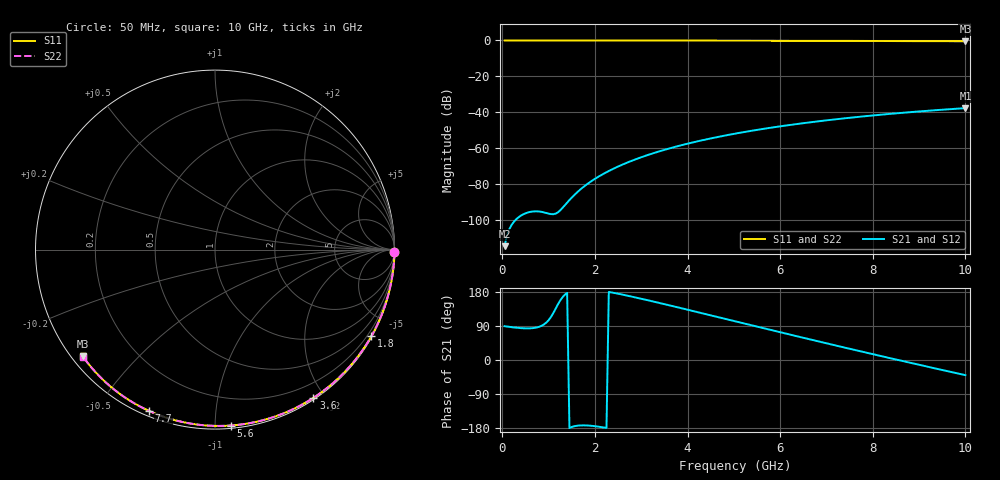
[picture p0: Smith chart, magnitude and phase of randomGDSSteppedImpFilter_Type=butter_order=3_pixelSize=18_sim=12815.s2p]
! freq	dB(S11)	phase(S11)	dB(S12)	phase(S12)
!  dB(S21)	phase(S21)	dB(S22)	phase(S22)
!S-par simulation data
#  GHz  S  DB  R 50
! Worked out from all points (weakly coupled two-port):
!   200 points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, 50 MHz to 10 GHz, reference 50 ohm
!   highest |S21| = -37.76 dB at 10 GHz (marker M1); lowest = -114.8 dB at 50 MHz (marker M2)
!   lowest |S11| = -0.5 dB at 10 GHz (marker M3), VSWR 36.66, Z = 1.53 - j17.7 ohm
!   |S11| at or under -10 dB: nowhere
!   |S22| runs from -0.5 to 0.0 dB; largest |S21 - S12| = 0
!   S11 on the Smith chart (normalised r, x): 50 MHz: open; 1.8 GHz: 0.03, -3.88; 3.6 GHz: 0.02, -1.86; 5.6 GHz: 0.02, -1.09; 7.7 GHz: 0.02, -0.67; 10 GHz: 0.03, -0.35
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0.05  -0.00 -0.8  -114.78 89.1  -114.78 89.1  -0.00 -0.8
0.45  -0.01 -7.3  -97.04 83.8  -97.04 83.8  -0.01 -7.3
0.9  -0.02 -14.6  -95.93 93.9  -95.93 93.9  -0.02 -14.6
1.75  -0.04 -28.1  -81.79 -172.5  -81.79 -172.5  -0.04 -28.1
1.8  -0.04 -28.9  -80.78 -172.6  -80.78 -172.6  -0.04 -28.9
1.85  -0.04 -29.7  -79.84 -172.9  -79.84 -172.9  -0.04 -29.6
2  -0.04 -32.0  -77.23 -174.6  -77.23 -174.6  -0.04 -32.0
2.15  -0.04 -34.4  -74.90 -177.2  -74.90 -177.2  -0.04 -34.3
2.35  -0.05 -37.5  -72.17 178.5  -72.17 178.5  -0.05 -37.4
2.55  -0.05 -40.6  -69.76 173.7  -69.76 173.7  -0.05 -40.5
2.95  -0.06 -46.7  -65.63 163.1  -65.63 163.1  -0.06 -46.6
3.4  -0.07 -53.4  -61.80 150.3  -61.80 150.3  -0.07 -53.4
3.6  -0.08 -56.4  -60.29 144.5  -60.29 144.5  -0.08 -56.4
4.3  -0.09 -66.6  -55.78 123.9  -55.78 123.9  -0.09 -66.6
5.05  -0.12 -77.2  -51.89 101.5  -51.89 101.5  -0.12 -77.2
5.6  -0.14 -84.8  -49.48 85.1  -49.48 85.1  -0.14 -84.7
6.15  -0.16 -92.2  -47.37 68.9  -47.37 68.9  -0.16 -92.1
6.7  -0.19 -99.5  -45.50 52.8  -45.50 52.8  -0.19 -99.4
7.7  -0.26 -112.3  -42.61 23.9  -42.61 23.9  -0.26 -112.2
8.35  -0.31 -120.5  -41.02 5.5  -41.02 5.5  -0.31 -120.4
9.2  -0.39 -131.1  -39.21 -18.2  -39.21 -18.2  -0.39 -131.0
10  -0.47 -141.0  -37.76 -40.0  -37.76 -40.0  -0.47 -140.9
